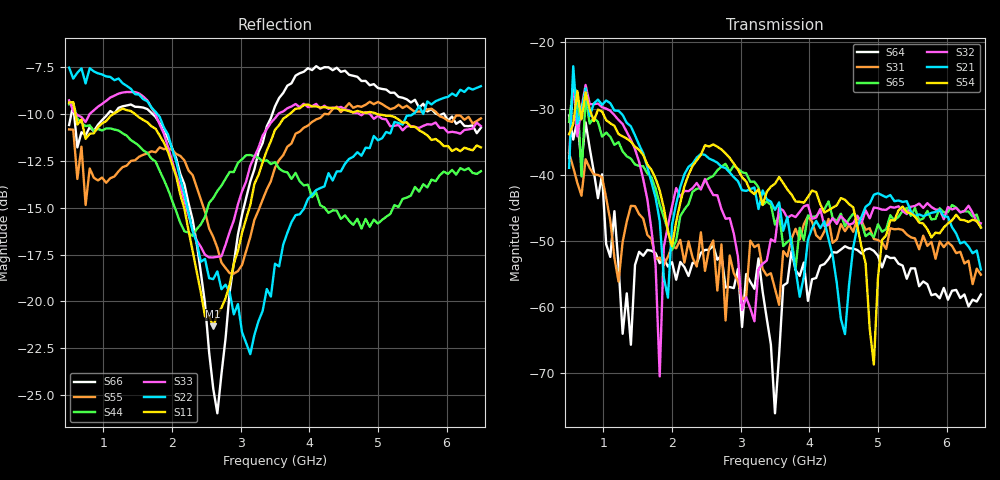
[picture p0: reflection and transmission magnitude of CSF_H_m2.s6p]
!Keysight Technologies,M9804A,MY58100912,A.14.10.03
!Date: Thursday, April 27, 2023 10:28:33
!Correction: S11(C  6-Port  )
!S12(C  6-Port  )
!S13(C  6-Port  )
!S14(C  6-Port  )
!S15(C  6-Port  )
!S16(C  6-Port  )
!S21(C  6-Port  )
!S22(C  6-Port  )
!S23(C  6-Port  )
!S24(C  6-Port  )
!S25(C  6-Port  )
!S26(C  6-Port  )
!S31(C  6-Port  )
!S32(C  6-Port  )
!S33(C  6-Port  )
!S34(C  6-Port  )
!S35(C  6-Port  )
!S36(C  6-Port  )
!S41(C  6-Port  )
!S42(C  6-Port  )
!S43(C  6-Port  )
!S44(C  6-Port  )
!S45(C  6-Port  )
!S46(C  6-Port  )
!S51(C  6-Port  )
!S52(C  6-Port  )
!S53(C  6-Port  )
!S54(C  6-Port  )
!S55(C  6-Port  )
!S56(C  6-Port  )
!S61(C  6-Port  )
!S62(C  6-Port  )
!S63(C  6-Port  )
!S64(C  6-Port  )
!S65(C  6-Port  )
!S66(C  6-Port  )
!S6P File: Measurement: :
# Hz S  RI  R 50
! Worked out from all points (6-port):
!   101 points, 500 MHz to 6.5 GHz, reference 50 ohm
!   strongest paths, dB at 500 MHz, 2 GHz, 3.5 GHz, 5 GHz, 6.5 GHz:
!     S54: -33.9, -50.8, -41.3, -55.6, -48.0
!     S21: -38.9, -47.5, -45.3, -42.8, -54.3
!     S32: -37.4, -44.7, -50.1, -45.0, -47.3
!     S65: -32.0, -51.3, -47.5, -47.5, -48.0
!     S31: -36.7, -50.8, -57.2, -49.8, -55.1
!     S64: -31.0, -53.2, -76.0, -52.2, -58.1
!   lowest |S11| = -21.3 dB at 2.6 GHz (marker M1), VSWR 1.19, Z = 42.4 + j2.29 ohm
!   |S11| at or under -10 dB: 592.2 MHz to 1.141 GHz (548.3 MHz wide, 63.3 % of centre); 1.465 GHz to 3.71 GHz (2.245 GHz wide, 86.8 % of centre); 4.992 GHz to end of sweep
